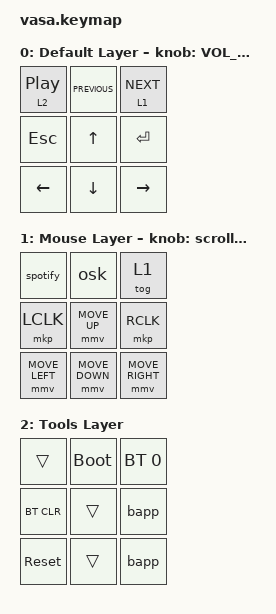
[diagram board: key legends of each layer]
#define ZMK_POINTING_DEFAULT_SCRL_VAL 800 
#define ZMK_MOUSE_DEFAULT_SCRL_VAL 140

#include <dt-bindings/zmk/pointing.h>
#include <behaviors.dtsi>
#include <dt-bindings/zmk/keys.h>
#include <dt-bindings/zmk/bt.h>
#include <dt-bindings/zmk/outputs.h>
#include <behaviors/battery_percentage_printer.dtsi>

#define ZMK_POINTING_DEFAULT_MOVE_VAL 1500




/{
   behaviors {
        ltboot: boot_layer_tap {
            compatible = "zmk,behavior-hold-tap";
            #binding-cells = <2>;
            flavor = "tap-preferred";
            tapping-term-ms = <3000>;
            bindings = <&mo>, <&kp>;
            display-name = "Layer-Tap";
        };
    };
    behaviors {
        ltarrow: arrow_layer_tap {
            compatible = "zmk,behavior-hold-tap";
            #binding-cells = <2>;
            flavor = "tap-preferred";
            tapping-term-ms = <200>;
            bindings = <&tog>, <&kp>;
            display-name = "Layer-Tap";
        };
    };
    behaviors {
        scroll_up_down: scroll_up_down {
            compatible = "zmk,behavior-sensor-rotate";
            #sensor-binding-cells = <0>;
            bindings = <&msc SCRL_DOWN>, <&msc SCRL_UP>;
            tap-ms = <20>;
        };
    };
    macros {
        spotify: zed_em_kay {
            compatible = "zmk,behavior-macro";
            #binding-cells = <0>;
            wait-ms = <50>;
            tap-ms = <50>;
            bindings
                = <&macro_tap &kp LWIN &kp S &kp P &kp O &kp T &kp I &kp F &kp Y>
                , <&macro_tap &kp ENTER>
                ;
        };
        osk: o_sk {
            compatible = "zmk,behavior-macro";
            #binding-cells = <0>;
            wait-ms = <50>;
            tap-ms = <50>;
            bindings
                = <&macro_press &kp LWIN &kp LCTRL >
                , <&macro_tap &kp O >
                , <&macro_release &kp LWIN &kp LCTRL >
                ;
        };
    };
     
        keymap {
                compatible = "zmk,keymap";
          
                default_layer {
                        display-name = "Default Layer";

                        bindings = <
   &ltboot 2 C_PP  &kp C_PREVIOUS    &ltarrow 1 C_NEXT   
   &kp ESC         &kp UP_ARROW      &kp ENTER 
   &kp LEFT_ARROW  &kp DOWN_ARROW    &kp RIGHT_ARROW    
    
                   >;
                 sensor-bindings = <&inc_dec_kp C_VOL_UP C_VOL_DN>;
                };

                function_layer {
                        display-name = "Mouse Layer";

                        bindings = <
   &spotify        &osk           &tog 1
   &mkp LCLK       &mmv MOVE_UP      &mkp RCLK        
   &mmv MOVE_LEFT  &mmv MOVE_DOWN    &mmv MOVE_RIGHT
   
                    >;
                    sensor-bindings = <&scroll_up_down>;
                };

                mouse_layer {
                        display-name = "Tools Layer";

                        bindings = <
   &trans        &bootloader   &bt BT_SEL 0 
   &bt BT_CLR    &trans        &bapp
   &sys_reset    &trans        &bapp  
     
                    >;
                };
               
        };

};
